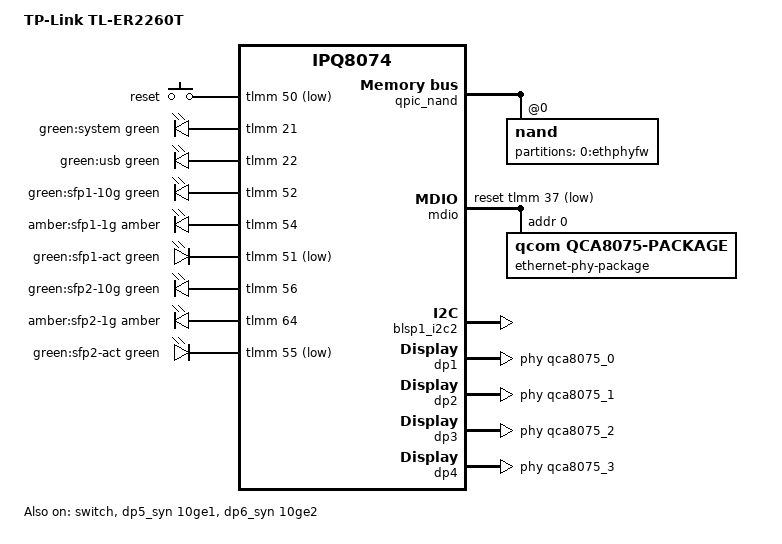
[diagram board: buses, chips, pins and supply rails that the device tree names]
// SPDX-License-Identifier: GPL-2.0-only
/* Copyright (c) 2020 The Linux Foundation. All rights reserved. */

/dts-v1/;

#include "ipq8074.dtsi"
#include "ipq8074-ess.dtsi"
#include "ipq8074-nss.dtsi"
#include "ipq8074-common.dtsi"
#include "ipq8074-hk-cpu.dtsi"

#include <dt-bindings/gpio/gpio.h>
#include <dt-bindings/input/input.h>
#include <dt-bindings/leds/common.h>

/ {
	model = "TP-Link TL-ER2260T";
	compatible = "tplink,tl-er2260t", "qcom,ipq8074";

	aliases {
		ethernet0 = &dp1;
		ethernet1 = &dp2;
		ethernet2 = &dp3;
		ethernet3 = &dp4;
		ethernet4 = &dp5_syn;
		ethernet5 = &dp6_syn;
		label-mac-device = &dp5_syn;
		serial0 = &blsp1_uart5;

		led-boot = &led_system_green;
		led-failsafe = &led_system_green;
		led-running = &led_system_green;
		led-upgrade = &led_system_green;
	};

	chosen {
		stdout-path = "serial0:115200n8";
		bootargs-append = " root=/dev/ubiblock0_1 coherent_pool=2M swiotlb=noforce";
	};

	keys {
		compatible = "gpio-keys";

		reset {
			label = "reset";
			linux,code = <KEY_RESTART>;
			gpios = <&tlmm 50 GPIO_ACTIVE_LOW>;
		};
	};

	leds {
		compatible = "gpio-leds";

		led_system_green: system-green {
			label = "green:system";
			gpios = <&tlmm 21 GPIO_ACTIVE_HIGH>;
			color = <LED_COLOR_ID_GREEN>;
		};

		led_usb_green {
			label = "green:usb";
			gpios = <&tlmm 22 GPIO_ACTIVE_HIGH>;
			color = <LED_COLOR_ID_GREEN>;
		};

		led_sfp1_speed_green {
			label = "green:sfp1-10g";
			gpios = <&tlmm 52 GPIO_ACTIVE_HIGH>;
			color = <LED_COLOR_ID_GREEN>;
		};

		led_sfp1_speed_amber {
			label = "amber:sfp1-1g";
			gpios = <&tlmm 54 GPIO_ACTIVE_HIGH>;
			color = <LED_COLOR_ID_AMBER>;
		};

		led_sfp1_act_green {
			label = "green:sfp1-act";
			gpios = <&tlmm 51 GPIO_ACTIVE_LOW>;
			color = <LED_COLOR_ID_GREEN>;
		};

		led_sfp2_speed_green {
			label = "green:sfp2-10g";
			gpios = <&tlmm 56 GPIO_ACTIVE_HIGH>;
			color = <LED_COLOR_ID_GREEN>;
		};

		led_sfp2_speed_amber {
			label = "amber:sfp2-1g";
			gpios = <&tlmm 64 GPIO_ACTIVE_HIGH>;
			color = <LED_COLOR_ID_AMBER>;
		};

		led_sfp2_act_green {
			label = "green:sfp2-act";
			gpios = <&tlmm 55 GPIO_ACTIVE_LOW>;
			color = <LED_COLOR_ID_GREEN>;
		};
	};
};

&tlmm {
	i2c_1_pins: i2c-1-pins {
		pins = "gpio46", "gpio47";
		function = "blsp2_i2c";
		drive-strength = <8>;
		bias-disable;
	};

	uniphy_pins: uniphy-pinmux {
		mux {
			pins = "gpio60";
			function = "rx2";
			bias-disable;
		};

		sfp_tx {
			pins = "gpio59";
			function = "gpio";
			drive-strength = <8>;
			bias-pull-down;
			output-low;
		};
	};
};

&qpic_nand {
	status = "okay";

	nand@0 {
		reg = <0>;

		nand-ecc-strength = <4>;
		nand-ecc-step-size = <512>;
		nand-bus-width = <8>;

		partitions {
			compatible = "qcom,smem-part";

			partition-0-ethphyfw {
				label = "0:ethphyfw";

				nvmem-layout {
					compatible = "fixed-layout";
					#address-cells = <1>;
					#size-cells = <1>;

					macaddr_lan: macaddr@0 {
						reg = <0x0 0x6>;
					};

					macaddr_wan: macaddr@1 {
						reg = <0x6 0x6>;
					};
				};
			};
		};
	};
};

&mdio {
	status = "okay";
	pinctrl-0 = <&mdio_pins>;
	pinctrl-names = "default";
	reset-gpios = <&tlmm 37 GPIO_ACTIVE_LOW>;

	ethernet-phy-package@0 {
		compatible = "qcom,qca8075-package";
		#address-cells = <1>;
		#size-cells = <0>;
		reg = <0>;

		qca8075_0: ethernet-phy@0 {
			compatible = "ethernet-phy-ieee802.3-c22";
			reg = <0>;
		};

		qca8075_1: ethernet-phy@1 {
			compatible = "ethernet-phy-ieee802.3-c22";
			reg = <1>;
		};

		qca8075_2: ethernet-phy@2 {
			compatible = "ethernet-phy-ieee802.3-c22";
			reg = <2>;
		};

		qca8075_3: ethernet-phy@3 {
			compatible = "ethernet-phy-ieee802.3-c22";
			reg = <3>;
		};
	};
};

&switch {
	status = "okay";

	switch_lan_bmp = <(ESS_PORT1 | ESS_PORT2 | ESS_PORT3 | ESS_PORT4 | ESS_PORT5)>;
	switch_wan_bmp = <ESS_PORT6>;
	switch_mac_mode = <MAC_MODE_QSGMII>;
	switch_mac_mode1 = <MAC_MODE_10GBASE_R>;
	switch_mac_mode2 = <MAC_MODE_10GBASE_R>;

	cmnblk_clk = "external_50MHz";

	qcom,port_phyinfo {
		port@0 {
			port_id = <1>;
			phy_address = <0>;
		};

		port@1 {
			port_id = <2>;
			phy_address = <1>;
		};

		port@2 {
			port_id = <3>;
			phy_address = <2>;
		};

		port@3 {
			port_id = <4>;
			phy_address = <3>;
		};

		sfp_1: port@4 {
			port_id = <5>;
			phy_address = <29>;
			phy_i2c_address = <29>;
			phy-i2c-mode;
			media-type = "sfp";
		};

		sfp_2: port@5 {
			port_id = <6>;
			phy_address = <30>;
			phy_i2c_address = <30>;
			phy-i2c-mode;
			media-type = "sfp";
		};
	};
};

&blsp1_i2c2 {
	status = "okay";
};

&edma {
	status = "okay";
};

&dp1 {
	status = "okay";
	phy-handle = <&qca8075_0>;
	label = "ge1";
	nvmem-cells = <&macaddr_lan>;
	nvmem-cell-names = "mac-address";
};

&dp2 {
	status = "okay";
	phy-handle = <&qca8075_1>;
	label = "ge2";
	nvmem-cells = <&macaddr_lan>;
	nvmem-cell-names = "mac-address";
};

&dp3 {
	status = "okay";
	phy-handle = <&qca8075_2>;
	label = "ge3";
	nvmem-cells = <&macaddr_lan>;
	nvmem-cell-names = "mac-address";
};

&dp4 {
	status = "okay";
	phy-handle = <&qca8075_3>;
	label = "ge4";
	nvmem-cells = <&macaddr_lan>;
	nvmem-cell-names = "mac-address";
};

&dp5_syn {
	status = "okay";
	phy-handle = <&sfp_1>;
	label = "10ge1";
	nvmem-cells = <&macaddr_wan>;
	nvmem-cell-names = "mac-address";
};

&dp6_syn {
	status = "okay";
	phy-handle = <&sfp_2>;
	label = "10ge2";
	nvmem-cells = <&macaddr_lan>;
	nvmem-cell-names = "mac-address";
};
